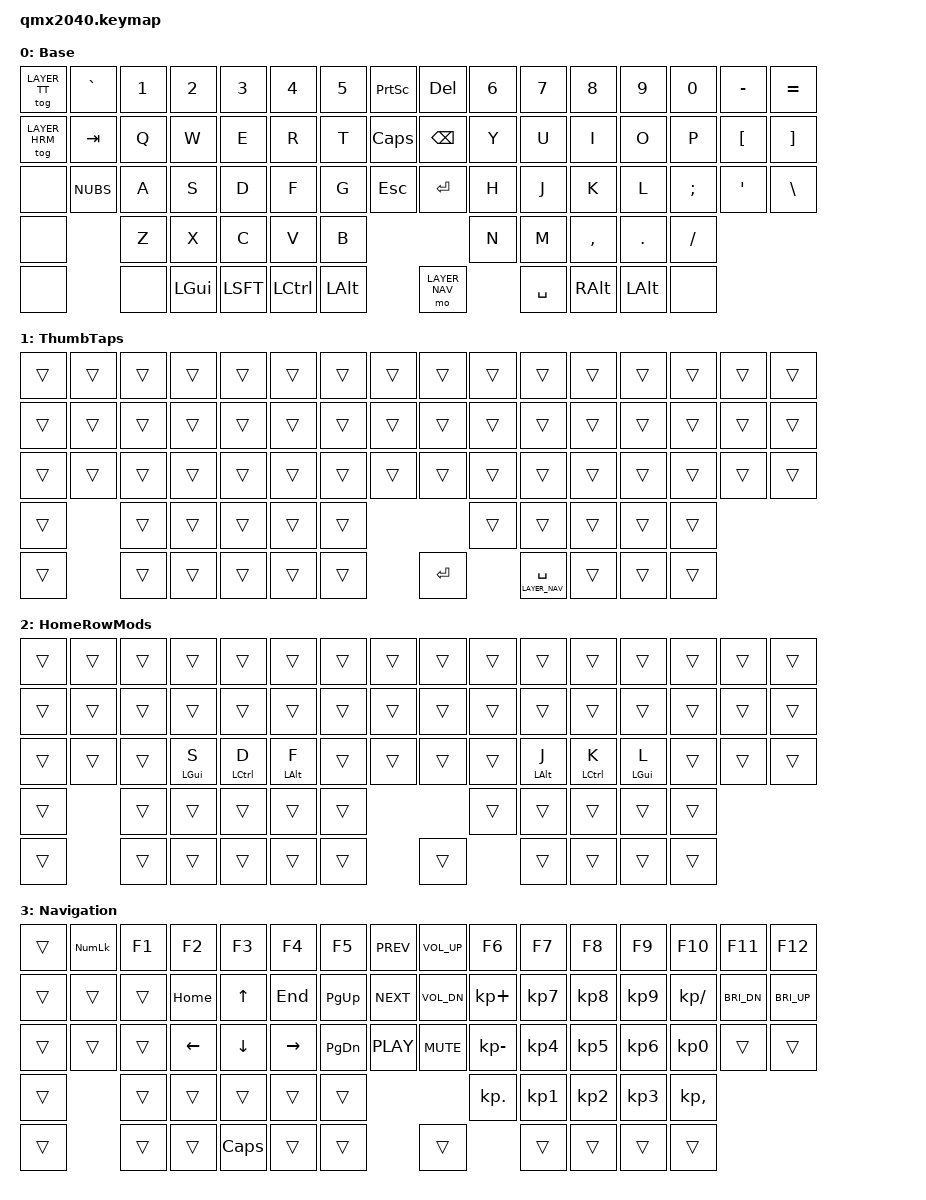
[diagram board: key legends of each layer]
#include <behaviors.dtsi>
#include <dt-bindings/zmk/keys.h>

// Timing is key
#define TAPPING_TERM       300
#define SHORT_TAPPING_TERM 150
#define QUICK_TAP          200

// Human-readable layer indexes
#define LAYER_TT  1
#define LAYER_HRM 2
#define LAYER_NAV 3

// Shorthands
#define HRM_S &hrm LGUI S
#define HRM_D &hrm LCTL D
#define HRM_F &hrm LALT F
#define HRM_J &hrm LALT J
#define HRM_K &hrm LCTL K
#define HRM_L &hrm LGUI L

&sl { ignore-modifiers; }; // keep one-shot-mods when chained into a one-shot-layer
&sk { quick-release; };    // must-have! (lots of false positives otherwise)

// add our common tap-hold parametesr to the default options
&mt {
  tapping-term-ms = <SHORT_TAPPING_TERM>;
  quick-tap-ms = <QUICK_TAP>;
};

&lt {
  tapping-term-ms = <TAPPING_TERM>;
  quick-tap-ms = <QUICK_TAP>;
};

/ {
  behaviors {
    hrm: homerow_mods {
      compatible = "zmk,behavior-hold-tap";
      #binding-cells = <2>;
      tapping-term-ms = <TAPPING_TERM>;
      quick-tap-ms = <QUICK_TAP>;
      flavor = "tap-preferred";
      bindings = <&kp>, <&kp>;
    };
    sc: space_cadet { // same as lt, but with hold-preferred
      compatible = "zmk,behavior-hold-tap";
      #binding-cells = <2>;
      tapping-term-ms = <SHORT_TAPPING_TERM>;
      quick-tap-ms = <QUICK_TAP>;
      flavor = "hold-preferred";
      bindings = <&mo>, <&kp>;
    };
  };

  keymap {
    compatible = "zmk,keymap";

    base_layer: base_layer {
      display-name = "Base";
      bindings = <
        &tog LAYER_TT  &kp GRAVE &kp N1   &kp N2   &kp N3   &kp N4   &kp N5   &kp PSCRN &kp DEL   &kp N6   &kp N7   &kp N8    &kp N9   &kp N0   &kp MINUS &kp EQUAL
        &tog LAYER_HRM &kp TAB   &kp Q    &kp W    &kp E    &kp R    &kp T    &kp CAPS  &kp BSPC  &kp Y    &kp U    &kp I     &kp O    &kp P    &kp LBKT  &kp RBKT
        &none          &kp NUBS  &kp A    &kp S    &kp D    &kp F    &kp G    &kp ESC   &kp ENTER &kp H    &kp J    &kp K     &kp L    &kp SEMI &kp SQT   &kp BSLH
        &none                    &kp Z    &kp X    &kp C    &kp V    &kp B                        &kp N    &kp M    &kp COMMA &kp DOT  &kp FSLH
        &none                    &none    &kp LGUI &kp LSFT &kp LCTL &kp LALT                &mo LAYER_NAV &kp SPC  &kp RALT  &kp LALT &none
      >;
    };

    thumb_taps_layer: thumb_taps_layer {
      display-name = "ThumbTaps";
      bindings = <
        &trans &trans &trans &trans &trans &trans &trans &trans &trans &trans &trans &trans &trans &trans &trans &trans
        &trans &trans &trans &trans &trans &trans &trans &trans &trans &trans &trans &trans &trans &trans &trans &trans
        &trans &trans &trans &trans &trans &trans &trans &trans &trans &trans &trans &trans &trans &trans &trans &trans
        &trans        &trans &trans &trans &trans &trans               &trans &trans &trans &trans &trans
        &trans        &trans &trans &trans &trans &trans               &kp ENTER &lt LAYER_NAV SPC &trans &trans &trans
      >;
    };

    hrm_layer: hrm_layer {
      display-name = "HomeRowMods";
      bindings = <
        &trans &trans &trans &trans &trans &trans &trans &trans &trans &trans &trans &trans &trans &trans &trans &trans
        &trans &trans &trans &trans &trans &trans &trans &trans &trans &trans &trans &trans &trans &trans &trans &trans
        &trans &trans &trans HRM_S  HRM_D  HRM_F  &trans &trans &trans &trans HRM_J  HRM_K  HRM_L  &trans &trans &trans
        &trans        &trans &trans &trans &trans &trans               &trans &trans &trans &trans &trans
        &trans        &trans &trans &trans &trans &trans               &trans &trans &trans &trans &trans
      >;
    };

    navigation_layer: navigation_layer {
      display-name = "Navigation";
      bindings = <
        &trans &kp KP_NUM &kp F1  &kp F2   &kp F3   &kp F4    &kp F5    &kp C_PREV &kp C_VOL_UP &kp F6       &kp F7    &kp F8    &kp F9    &kp F10       &kp F11      &kp F12
        &trans &trans     &trans  &kp HOME &kp UP   &kp END   &kp PG_UP &kp C_NEXT &kp C_VOL_DN &kp KP_PLUS  &kp KP_N7 &kp KP_N8 &kp KP_N9 &kp KP_DIVIDE &kp C_BRI_DN &kp C_BRI_UP
        &trans &trans     &trans  &kp LEFT &kp DOWN &kp RIGHT &kp PG_DN &kp C_PLAY &kp C_MUTE   &kp KP_MINUS &kp KP_N4 &kp KP_N5 &kp KP_N6 &kp KP_N0     &trans       &trans
        &trans            &trans  &trans   &trans   &trans    &trans                            &kp KP_DOT   &kp KP_N1 &kp KP_N2 &kp KP_N3 &kp KP_COMMA
        &trans            &trans  &trans   &kp CAPS &trans    &trans                            &trans       &trans    &trans    &trans    &trans
      >;
    };
  };
};
